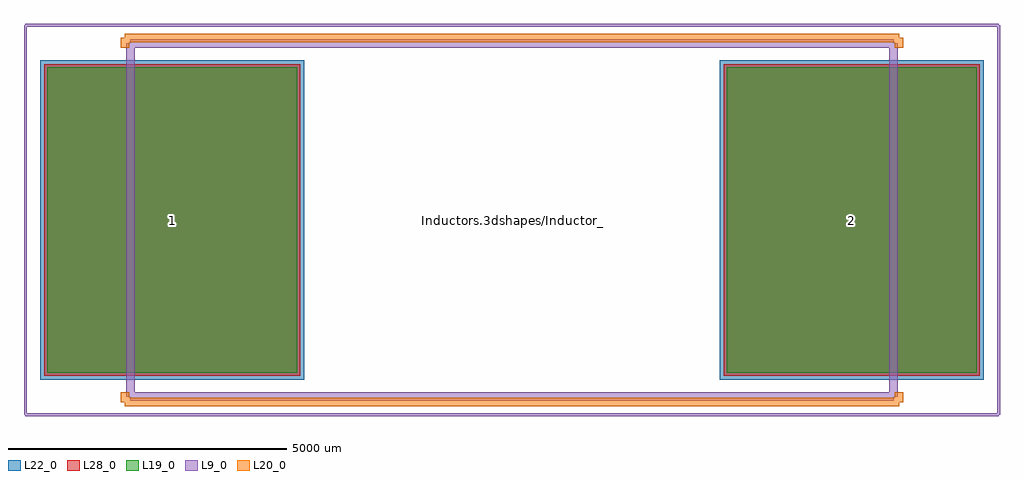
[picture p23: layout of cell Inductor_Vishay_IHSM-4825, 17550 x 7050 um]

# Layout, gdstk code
import gdstk
lib = gdstk.Library(unit=1e-6, precision=1e-09)
def R(c, l, rs):  # rectangles x0, y0, x1, y1
    for r in rs: c.add(gdstk.rectangle(r[:2], r[2:], *l))
L9_0 = (9, 0)
L19_0 = (19, 0)
L20_0 = (20, 0)
L22_0 = (22, 0)
L28_0 = (28, 0)

inductor_vishay_ihsm_482 = lib.new_cell('Inductor_Vishay_IHSM-4825')
R(inductor_vishay_ihsm_482, L19_0, [(-8360,-2750,-3860,2750), (3860,-2750,8360,2750)])
R(inductor_vishay_ihsm_482, L22_0, [(-8485,-2875,-3735,2875), (3735,-2875,8485,2875)])
R(inductor_vishay_ihsm_482, L28_0, [(-8410,-2800,-3810,2800), (3810,-2800,8410,2800)])
inductor_vishay_ihsm_482.add(gdstk.FlexPath([(-6960,-3275),(0,-3275)], 149.998, ends="flush", simple_path=True, layer=20, datatype=0))  # L20_0
inductor_vishay_ihsm_482.add(gdstk.FlexPath([(-6960,-3100),(-6960,-3275)], 149.998, ends="flush", simple_path=True, layer=20, datatype=0))  # L20_0
inductor_vishay_ihsm_482.add(gdstk.FlexPath([(6960,-3275),(0,-3275)], 149.998, ends="flush", simple_path=True, layer=20, datatype=0))  # L20_0
inductor_vishay_ihsm_482.add(gdstk.FlexPath([(6960,-3100),(6960,-3275)], 149.998, ends="flush", simple_path=True, layer=20, datatype=0))  # L20_0
inductor_vishay_ihsm_482.add(gdstk.FlexPath([(6960,3275),(0,3275)], 149.998, ends="flush", simple_path=True, layer=20, datatype=0))  # L20_0
inductor_vishay_ihsm_482.add(gdstk.FlexPath([(6960,3100),(6960,3275)], 149.998, ends="flush", simple_path=True, layer=20, datatype=0))  # L20_0
inductor_vishay_ihsm_482.add(gdstk.FlexPath([(-6960,3275),(0,3275)], 149.998, ends="flush", simple_path=True, layer=20, datatype=0))  # L20_0
inductor_vishay_ihsm_482.add(gdstk.FlexPath([(-6960,3100),(-6960,3275)], 149.998, ends="flush", simple_path=True, layer=20, datatype=0))  # L20_0
inductor_vishay_ihsm_482.add(gdstk.FlexPath([(6860,3175),(-6860,3175)], 149.998, ends="flush", simple_path=True, layer=9, datatype=0))  # L9_0
inductor_vishay_ihsm_482.add(gdstk.FlexPath([(6860,-3175),(6860,3175)], 149.998, ends="flush", simple_path=True, layer=9, datatype=0))  # L9_0
inductor_vishay_ihsm_482.add(gdstk.FlexPath([(-6860,-3175),(6860,-3175)], 149.998, ends="flush", simple_path=True, layer=9, datatype=0))  # L9_0
inductor_vishay_ihsm_482.add(gdstk.FlexPath([(-6860,3175),(-6860,-3175)], 149.998, ends="flush", simple_path=True, layer=9, datatype=0))  # L9_0
inductor_vishay_ihsm_482.add(gdstk.FlexPath([(8750,3500),(-8750,3500)], 50, ends="flush", simple_path=True, layer=9, datatype=0))  # L9_0
inductor_vishay_ihsm_482.add(gdstk.FlexPath([(8750,-3500),(8750,3500)], 50, ends="flush", simple_path=True, layer=9, datatype=0))  # L9_0
inductor_vishay_ihsm_482.add(gdstk.FlexPath([(-8750,-3500),(8750,-3500)], 50, ends="flush", simple_path=True, layer=9, datatype=0))  # L9_0
inductor_vishay_ihsm_482.add(gdstk.FlexPath([(-8750,3500),(-8750,-3500)], 50, ends="flush", simple_path=True, layer=9, datatype=0))  # L9_0
inductor_vishay_ihsm_482.add(gdstk.Label('Inductors.3dshapes/Inductor_Vishay_IHSM-4825.wrl', (0,0), layer=12, texttype=0))
inductor_vishay_ihsm_482.add(gdstk.Label('2', (6110,0), layer=28, texttype=0))
inductor_vishay_ihsm_482.add(gdstk.Label('1', (-6110,0), layer=28, texttype=0))
inductor_vishay_ihsm_482.add(gdstk.Label('type', (0,-4675), layer=9, texttype=0))
inductor_vishay_ihsm_482.add(gdstk.Label('devicename', (0,4175), layer=9, texttype=0))

lib.write_gds('Inductor_Vishay_IHSM-4825.gds')
